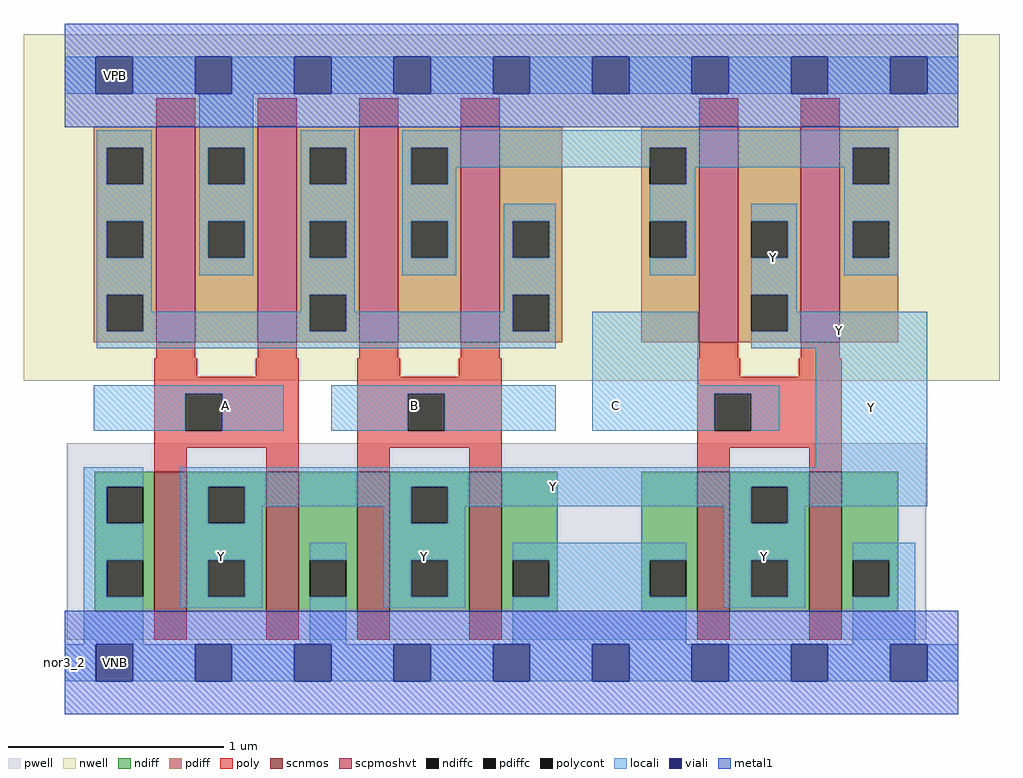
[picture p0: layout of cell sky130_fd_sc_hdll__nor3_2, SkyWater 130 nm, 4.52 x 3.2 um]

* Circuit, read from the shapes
.subckt sky130_fd_sc_hdll__nor3_2 A B C VGND VNB VPB VPWR Y
XM1 Y A VGND VNB sky130_fd_pr__nfet_01v8 w=0.65 l=0.15 m=2
XM2 Y B VGND VNB sky130_fd_pr__nfet_01v8 w=0.65 l=0.15 m=2
XM3 Y C VGND VNB sky130_fd_pr__nfet_01v8 w=0.65 l=0.15 m=2
XM4 VPWR A n1 VPB sky130_fd_pr__pfet_01v8_hvt w=1 l=0.18 m=2
XM5 n2 B n1 VPB sky130_fd_pr__pfet_01v8_hvt w=1 l=0.18 m=2
XM6 Y C n2 VPB sky130_fd_pr__pfet_01v8_hvt w=1 l=0.18 m=2
.ends

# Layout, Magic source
magic
tech sky130A
magscale 1 2
<< nwell >>
rect -38 261 866 582
<< pwell >>
rect 2 21 798 203
rect 30 -17 64 21
<< scnmos >>
rect 83 47 113 177
rect 187 47 217 177
rect 271 47 301 177
rect 375 47 405 177
rect 586 47 616 177
rect 690 47 720 177
<< scpmoshvt >>
rect 85 297 121 497
rect 179 297 215 497
rect 273 297 309 497
rect 367 297 403 497
rect 588 297 624 497
rect 682 297 718 497
<< ndiff >>
rect 28 163 83 177
rect 28 129 39 163
rect 73 129 83 163
rect 28 95 83 129
rect 28 61 39 95
rect 73 61 83 95
rect 28 47 83 61
rect 113 163 187 177
rect 113 129 133 163
rect 167 129 187 163
rect 113 95 187 129
rect 113 61 133 95
rect 167 61 187 95
rect 113 47 187 61
rect 217 95 271 177
rect 217 61 227 95
rect 261 61 271 95
rect 217 47 271 61
rect 301 163 375 177
rect 301 129 321 163
rect 355 129 375 163
rect 301 95 375 129
rect 301 61 321 95
rect 355 61 375 95
rect 301 47 375 61
rect 405 95 457 177
rect 405 61 415 95
rect 449 61 457 95
rect 405 47 457 61
rect 534 95 586 177
rect 534 61 542 95
rect 576 61 586 95
rect 534 47 586 61
rect 616 163 690 177
rect 616 129 636 163
rect 670 129 690 163
rect 616 95 690 129
rect 616 61 636 95
rect 670 61 690 95
rect 616 47 690 61
rect 720 95 772 177
rect 720 61 730 95
rect 764 61 772 95
rect 720 47 772 61
<< pdiff >>
rect 27 477 85 497
rect 27 443 39 477
rect 73 443 85 477
rect 27 409 85 443
rect 27 375 39 409
rect 73 375 85 409
rect 27 341 85 375
rect 27 307 39 341
rect 73 307 85 341
rect 27 297 85 307
rect 121 477 179 497
rect 121 443 133 477
rect 167 443 179 477
rect 121 409 179 443
rect 121 375 133 409
rect 167 375 179 409
rect 121 297 179 375
rect 215 477 273 497
rect 215 443 227 477
rect 261 443 273 477
rect 215 409 273 443
rect 215 375 227 409
rect 261 375 273 409
rect 215 341 273 375
rect 215 307 227 341
rect 261 307 273 341
rect 215 297 273 307
rect 309 477 367 497
rect 309 443 321 477
rect 355 443 367 477
rect 309 409 367 443
rect 309 375 321 409
rect 355 375 367 409
rect 309 297 367 375
rect 403 409 461 497
rect 403 375 415 409
rect 449 375 461 409
rect 403 341 461 375
rect 403 307 415 341
rect 449 307 461 341
rect 403 297 461 307
rect 534 477 588 497
rect 534 443 542 477
rect 576 443 588 477
rect 534 409 588 443
rect 534 375 542 409
rect 576 375 588 409
rect 534 297 588 375
rect 624 409 682 497
rect 624 375 636 409
rect 670 375 682 409
rect 624 341 682 375
rect 624 307 636 341
rect 670 307 682 341
rect 624 297 682 307
rect 718 477 772 497
rect 718 443 730 477
rect 764 443 772 477
rect 718 409 772 443
rect 718 375 730 409
rect 764 375 772 409
rect 718 297 772 375
<< ndiffc >>
rect 39 129 73 163
rect 39 61 73 95
rect 133 129 167 163
rect 133 61 167 95
rect 227 61 261 95
rect 321 129 355 163
rect 321 61 355 95
rect 415 61 449 95
rect 542 61 576 95
rect 636 129 670 163
rect 636 61 670 95
rect 730 61 764 95
<< pdiffc >>
rect 39 443 73 477
rect 39 375 73 409
rect 39 307 73 341
rect 133 443 167 477
rect 133 375 167 409
rect 227 443 261 477
rect 227 375 261 409
rect 227 307 261 341
rect 321 443 355 477
rect 321 375 355 409
rect 415 375 449 409
rect 415 307 449 341
rect 542 443 576 477
rect 542 375 576 409
rect 636 375 670 409
rect 636 307 670 341
rect 730 443 764 477
rect 730 375 764 409
<< poly >>
rect 85 497 121 523
rect 179 497 215 523
rect 273 497 309 523
rect 367 497 403 523
rect 588 497 624 523
rect 682 497 718 523
rect 85 282 121 297
rect 179 282 215 297
rect 273 282 309 297
rect 367 282 403 297
rect 588 282 624 297
rect 682 282 718 297
rect 83 265 123 282
rect 177 265 217 282
rect 83 249 217 265
rect 83 215 112 249
rect 146 215 217 249
rect 83 199 217 215
rect 83 177 113 199
rect 187 177 217 199
rect 271 265 311 282
rect 365 265 405 282
rect 271 249 405 265
rect 271 215 318 249
rect 352 215 405 249
rect 271 199 405 215
rect 271 177 301 199
rect 375 177 405 199
rect 586 265 626 282
rect 680 265 720 282
rect 586 249 720 265
rect 586 215 602 249
rect 636 215 720 249
rect 586 199 720 215
rect 586 177 616 199
rect 690 177 720 199
rect 83 21 113 47
rect 187 21 217 47
rect 271 21 301 47
rect 375 21 405 47
rect 586 21 616 47
rect 690 21 720 47
<< polycont >>
rect 112 215 146 249
rect 318 215 352 249
rect 602 215 636 249
<< locali >>
rect 0 527 29 561
rect 63 527 121 561
rect 155 527 213 561
rect 247 527 305 561
rect 339 527 397 561
rect 431 527 489 561
rect 523 527 581 561
rect 615 527 673 561
rect 707 527 765 561
rect 799 527 828 561
rect 30 477 81 493
rect 30 443 39 477
rect 73 443 81 477
rect 30 409 81 443
rect 30 375 39 409
rect 73 375 81 409
rect 30 341 81 375
rect 125 477 175 527
rect 125 443 133 477
rect 167 443 175 477
rect 125 409 175 443
rect 125 375 133 409
rect 167 375 175 409
rect 125 359 175 375
rect 219 477 269 493
rect 219 443 227 477
rect 261 443 269 477
rect 219 409 269 443
rect 219 375 227 409
rect 261 375 269 409
rect 30 307 39 341
rect 73 325 81 341
rect 219 341 269 375
rect 313 477 772 493
rect 313 443 321 477
rect 355 459 542 477
rect 355 443 363 459
rect 313 409 363 443
rect 576 459 730 477
rect 576 443 584 459
rect 313 375 321 409
rect 355 375 363 409
rect 313 359 363 375
rect 407 409 455 425
rect 407 375 415 409
rect 449 375 455 409
rect 219 325 227 341
rect 73 307 227 325
rect 261 325 269 341
rect 407 341 455 375
rect 542 409 584 443
rect 722 443 730 459
rect 764 443 772 477
rect 576 375 584 409
rect 542 359 584 375
rect 636 409 678 425
rect 670 375 678 409
rect 407 325 415 341
rect 261 307 415 325
rect 449 307 455 341
rect 636 341 678 375
rect 722 409 772 443
rect 722 375 730 409
rect 764 375 772 409
rect 722 359 772 375
rect 30 291 455 307
rect 489 257 587 325
rect 670 325 678 341
rect 670 307 799 325
rect 636 291 799 307
rect 27 249 203 257
rect 27 215 112 249
rect 146 215 203 249
rect 247 249 455 257
rect 247 215 318 249
rect 352 215 455 249
rect 489 249 662 257
rect 489 215 602 249
rect 636 215 662 249
rect 696 181 799 291
rect 18 163 73 181
rect 18 129 39 163
rect 18 95 73 129
rect 18 61 39 95
rect 18 17 73 61
rect 107 163 799 181
rect 107 129 133 163
rect 167 145 321 163
rect 167 129 183 145
rect 107 95 183 129
rect 295 129 321 145
rect 355 145 636 163
rect 355 129 371 145
rect 107 61 133 95
rect 167 61 183 95
rect 107 51 183 61
rect 227 95 261 111
rect 227 17 261 61
rect 295 95 371 129
rect 610 129 636 145
rect 670 145 799 163
rect 670 129 686 145
rect 295 61 321 95
rect 355 61 371 95
rect 295 51 371 61
rect 415 95 576 111
rect 449 61 542 95
rect 415 17 576 61
rect 610 95 686 129
rect 610 61 636 95
rect 670 61 686 95
rect 610 51 686 61
rect 730 95 788 111
rect 764 61 788 95
rect 730 17 788 61
rect 0 -17 29 17
rect 63 -17 121 17
rect 155 -17 213 17
rect 247 -17 305 17
rect 339 -17 397 17
rect 431 -17 489 17
rect 523 -17 581 17
rect 615 -17 673 17
rect 707 -17 765 17
rect 799 -17 828 17
<< viali >>
rect 29 527 63 561
rect 121 527 155 561
rect 213 527 247 561
rect 305 527 339 561
rect 397 527 431 561
rect 489 527 523 561
rect 581 527 615 561
rect 673 527 707 561
rect 765 527 799 561
rect 29 -17 63 17
rect 121 -17 155 17
rect 213 -17 247 17
rect 305 -17 339 17
rect 397 -17 431 17
rect 489 -17 523 17
rect 581 -17 615 17
rect 673 -17 707 17
rect 765 -17 799 17
<< metal1 >>
rect 0 561 828 592
rect 0 527 29 561
rect 63 527 121 561
rect 155 527 213 561
rect 247 527 305 561
rect 339 527 397 561
rect 431 527 489 561
rect 523 527 581 561
rect 615 527 673 561
rect 707 527 765 561
rect 799 527 828 561
rect 0 496 828 527
rect 0 17 828 48
rect 0 -17 29 17
rect 63 -17 121 17
rect 155 -17 213 17
rect 247 -17 305 17
rect 339 -17 397 17
rect 431 -17 489 17
rect 523 -17 581 17
rect 615 -17 673 17
rect 707 -17 765 17
rect 799 -17 828 17
rect 0 -48 828 -17
<< labels >>
flabel locali s 493 221 527 255 0 FreeSans 400 0 0 0 C
port 3 nsew signal input
flabel locali s 696 181 799 291 0 FreeSans 400 0 0 0 Y
port 8 nsew signal output
flabel locali s 132 221 166 255 0 FreeSans 400 0 0 0 A
port 1 nsew signal input
flabel locali s 307 221 341 255 0 FreeSans 400 0 0 0 B
port 2 nsew signal input
flabel nwell s 30 527 64 561 0 FreeSans 200 0 0 0 VPB
port 6 nsew power bidirectional
flabel pwell s 30 -17 64 17 0 FreeSans 200 0 0 0 VNB
port 5 nsew ground bidirectional
flabel metal1 s 30 -17 64 17 0 FreeSans 200 0 0 0 VGND
port 4 nsew ground bidirectional
flabel metal1 s 30 527 64 561 0 FreeSans 200 0 0 0 VPWR
port 7 nsew power bidirectional
rlabel comment s 0 0 0 0 4 nor3_2
rlabel locali s 636 325 678 425 1 Y
port 8 nsew signal output
rlabel locali s 636 291 799 325 1 Y
port 8 nsew signal output
rlabel locali s 610 51 686 145 1 Y
port 8 nsew signal output
rlabel locali s 295 51 371 145 1 Y
port 8 nsew signal output
rlabel locali s 107 145 799 181 1 Y
port 8 nsew signal output
rlabel locali s 107 51 183 145 1 Y
port 8 nsew signal output
<< properties >>
string LEFsite unithd
string LEFclass CORE
string FIXED_BBOX 0 0 828 544
string GDS_FILE $PDKPATH/libs.ref/sky130_fd_sc_hdll/gds/sky130_fd_sc_hdll.gds
string LEFsymmetry X Y R90
string GDS_END 1319114
string GDS_START 1312214
string LEFproperties maskLayoutSubType "abstract" prCellType "standard" originalViewName "layout"
<< end >>
